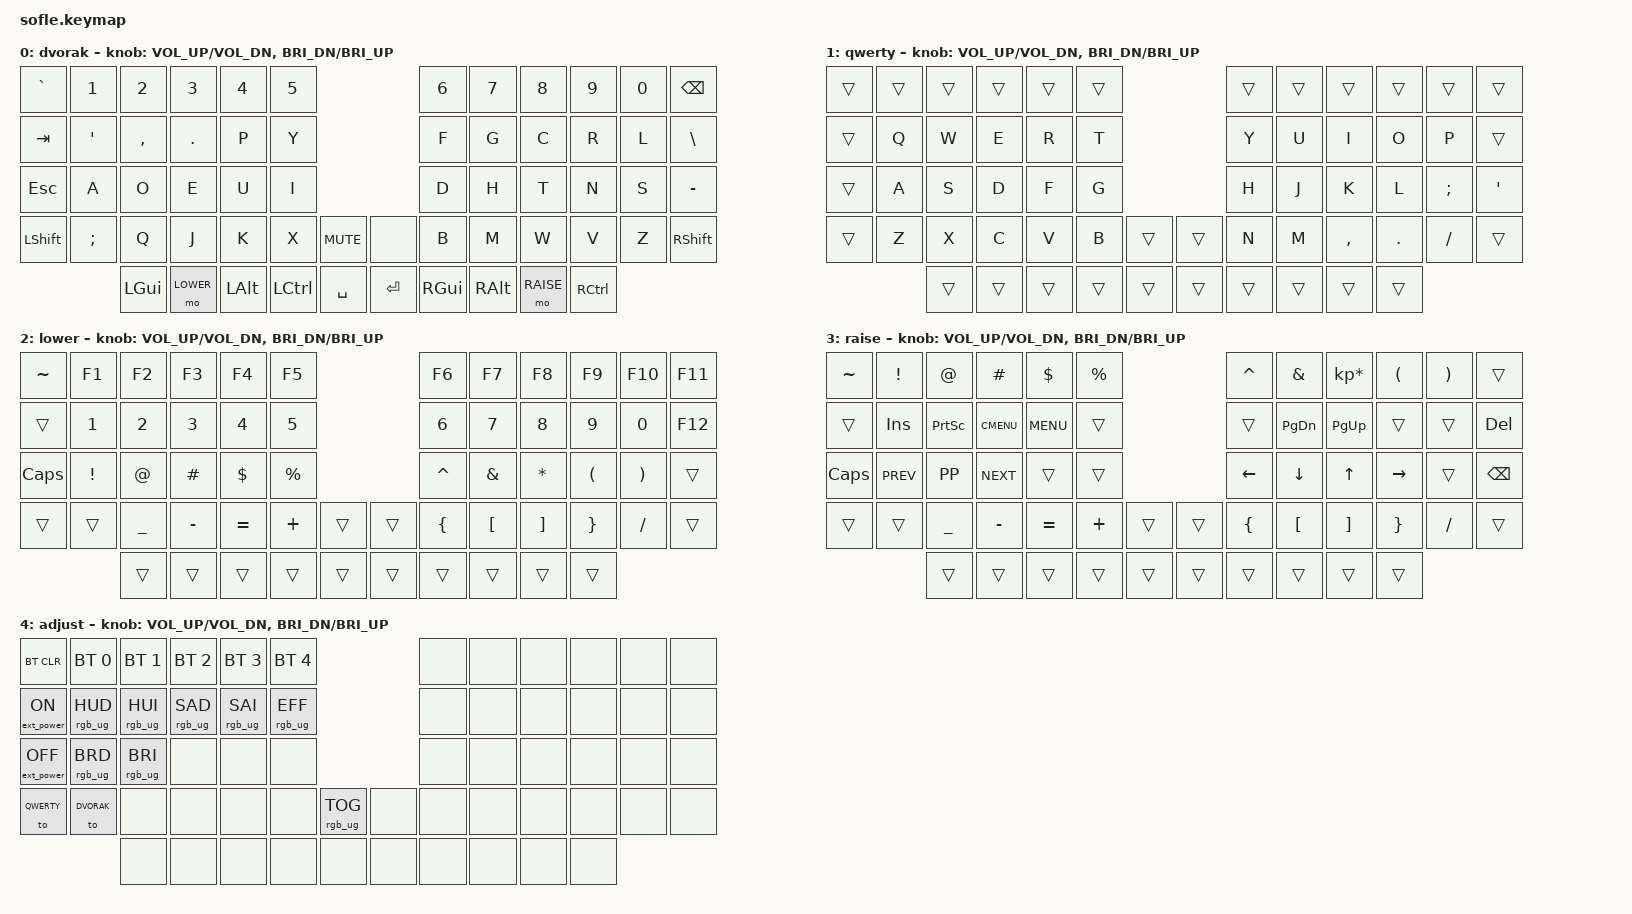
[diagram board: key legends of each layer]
/*
 * Copyright (c) 2020 The ZMK Contributors
 *
 * SPDX-License-Identifier: MIT
 */

#include <behaviors.dtsi>
#include <dt-bindings/zmk/keys.h>
#include <dt-bindings/zmk/bt.h>
#include <dt-bindings/zmk/rgb.h>
#include <dt-bindings/zmk/ext_power.h>

#define DVORAK 0
#define QWERTY 1
#define LOWER  2
#define RAISE  3
#define ADJUST 4

/ {

   // Activate ADJUST layer by pressing raise and lower
    conditional_layers {
        compatible = "zmk,conditional-layers";
        adjust_layer {
            if-layers = <LOWER RAISE>;
            then-layer = <ADJUST>;
        };
    };

    keymap {
        compatible = "zmk,keymap";

        dvorak_layer {
            display-name = "dvorak";
// ------------------------------------------------------------------------------------------------------------
// |   `   |  0  |  2  |  3   |  4   |   5   |                   |   6   |  7    |  8    |  9   |   0   | BKSPC |
// |  TAB  |  '  |  ,  |  .   |  P   |   Y   |                   |   F   |  G    |  C    |  R   |   L   |   \   |
// |  ESC  |  A  |  O  |  E   |  U   |   I   |                   |   D   |  H    |  T    |  N   |   S   |   -   |
// | SHIFT |  ;  |  Q  |  J   |  K   |   X   |  MUTE  |  |       |   B   |  M    |  W    |  V   |   Z   | SHIFT |
//               | GUI | LOWER|  ALT |  CTRL |  SPACE |  | ENTER |  GUI  |  ALT  | RAISE | CTRL |
            bindings = <
&kp GRAVE  &kp N1   &kp N2    &kp N3   &kp N4   &kp N5                           &kp N6   &kp N7    &kp N8    &kp N9   &kp N0   &kp BSPC
&kp TAB    &kp SQT  &kp COMMA &kp DOT  &kp P    &kp Y                            &kp F    &kp G     &kp C     &kp R    &kp L    &kp BSLH
&kp ESC    &kp A    &kp O     &kp E    &kp U    &kp I                            &kp D    &kp H     &kp T     &kp N    &kp S    &kp MINUS
&kp LSHFT  &kp SEMI &kp Q     &kp J    &kp K    &kp X    &kp K_MUTE     &none    &kp B    &kp M     &kp W     &kp V    &kp Z    &kp RSHIFT
                 &kp LGUI  &mo LOWER &kp LALT &kp LCTRL  &kp SPACE      &kp RET  &kp RGUI  &kp RALT  &mo RAISE  &kp RCTRL
            >;

            sensor-bindings = <&inc_dec_kp K_VOL_UP K_VOL_DN &inc_dec_kp C_BRI_DN C_BRI_UP>;
        };

        qwerty_layer {
            display-name = "qwerty";
// ------------------------------------------------------------------------------------------------------------
// |       |     |     |      |      |       |                   |       |       |       |      |       |       |
// |       |  Q  |  W  |  E   |  R   |   T   |                   |   Y   |  U    |  I    |  O   |   P   |       |
// |       |  A  |  S  |  D   |  F   |   G   |                   |   H   |  J    |  K    |  L   |   ;   |   '   |
// |       |  Z  |  X  |  C   |  V   |   B   |        |  |       |   N   |  M    |  ,    |  .   |   /   |       |
//               |     |      |      |       |        |  |       |       |       |       |      |
            bindings = <
&trans  &trans   &trans    &trans   &trans   &trans                           &trans   &trans    &trans    &trans   &trans   &trans
&trans  &kp Q    &kp W     &kp E    &kp R     &kp T                           &kp Y    &kp U     &kp I     &kp O    &kp P    &trans
&trans  &kp A    &kp S     &kp D    &kp F     &kp G                           &kp H    &kp J     &kp K     &kp L    &kp SEMI &kp SQT
&trans  &kp Z    &kp X     &kp C    &kp V     &kp B     &trans &trans         &kp N    &kp M     &kp COMMA &kp DOT  &kp FSLH &trans
                 &trans    &trans   &trans   &trans     &trans &trans         &trans   &trans    &trans    &trans
            >;

            sensor-bindings = <&inc_dec_kp K_VOL_UP K_VOL_DN &inc_dec_kp C_BRI_DN C_BRI_UP>;
        };

        lower_layer {
            display-name = "lower";
// TODO: Some binds are waiting for shifted keycode support.
// ------------------------------------------------------------------------------------------------------------
// |   ~   |  F1 |  F2 |  F3  |  F4  |  F5  |                   |  F6  |  F7   |  F8   |  F9  |  F10  |  F11  |
// |       |  1  |  2  |  3   |  4   |  5   |                   |  6   |  7    |  8    |  9   |   0   |  F12  |
// | CAPS  |  !  |  @  |  #   |  $   |  %   |                   |  ^   |  &    |  *    |  (   |   )   |       |
// |       |     |  _  |  -   |  =   |  +   |        |  |       |  {   |  [    |  ]    |  }   |   /   |       |
//               |     |      |      |      |        |  |       |      |       |       |      |
            bindings = <
&kp TILDE &kp F1    &kp F2    &kp F3      &kp F4    &kp F5                    &kp F6    &kp F7   &kp F8          &kp F9    &kp F10   &kp F11
&trans    &kp N1    &kp N2    &kp N3      &kp N4    &kp N5                    &kp N6    &kp N7   &kp N8          &kp N9    &kp N0    &kp F12
&kp CLCK  &kp EXCL  &kp AT    &kp HASH    &kp DLLR  &kp PRCNT                 &kp CARET &kp AMPS &kp ASTERISK    &kp LPAR  &kp RPAR  &trans
&trans    &trans    &kp UNDER &kp MINUS   &kp EQUAL &kp PLUS   &trans &trans  &kp LBRC  &kp LBKT &kp RBKT        &kp RBRC  &kp FSLH  &trans
                    &trans    &trans      &trans    &trans     &trans &trans  &trans    &trans   &trans          &trans
            >;

            sensor-bindings = <&inc_dec_kp K_VOL_UP K_VOL_DN &inc_dec_kp C_BRI_DN C_BRI_UP>;
        };

        raise_layer {
            display-name = "raise";
// ------------------------------------------------------------------------------------------------------------
// |  ~    |  !   |  @   |  #    |  $    |  %   |                |  ^   |  &   |  *   |  (   |   )   |       |
// |       | INS  | PSCR | GUI   | MENU  |      |                |      | PGDN | PGUP |      |       |  DEL  |
// | CAPS  | Pre  |  PP  | Next  |       |      |                |  <-  |   v  |   ^  |  ->  |       | BKSPC |
// |       |      |  _   |  -    |  =    |  +   |      |  |      |  {   |  [   |  ]   |  }   |   /   |       |
//                |      |       |       |      |      |  |      |      |      |      |      |
            bindings = <
&kp TILDE  &kp EXCL     &kp AT       &kp HASH     &kp DLLR     &kp PRCNT                        &kp CARET   &kp AMPS    &kp KP_MULTIPLY &kp LPAR  &kp RPAR  &trans
&trans     &kp INS      &kp PSCRN    &kp K_CMENU  &kp K_MENU   &trans                           &trans      &kp PG_DN   &kp PG_UP    &trans      &trans     &kp DEL
&kp CLCK   &kp K_PREV   &kp K_PP     &kp K_NEXT   &trans       &trans                           &kp LEFT    &kp DOWN    &kp UP       &kp RIGHT   &trans     &kp BSPC
&trans     &trans       &kp UNDER    &kp MINUS    &kp EQUAL    &kp PLUS      &trans  &trans     &kp LBRC    &kp LBKT    &kp RBKT     &kp RBRC    &kp FSLH   &trans
                        &trans       &trans       &trans       &trans        &trans  &trans     &trans      &trans      &trans       &trans
            >;

            sensor-bindings = <&inc_dec_kp K_VOL_UP K_VOL_DN &inc_dec_kp C_BRI_DN C_BRI_UP>;
        };

        adjust_layer {
// ----------------------------------------------------------------------------------------------------------------------------
// | BTCLR  |  BT0    |  BT1    |   BT2   |   BT3   |   BT4   |                  |      |      |       |      |       |       |
// | EP_ON  | RGB_HUD | RGB_HUI | RGB_SAD | RGB_SAI | RGB_EFF |                  |      |      |       |      |       |       |
// | EP_OFF | RGB_BRD | RGB_BRI |         |         |         |                  |      |      |       |      |       |       |
// | QWERTY | DVORAK  |         |         |         |         | RGB_TOG | |      |      |      |       |      |       |       |
//                    |         |         |         |         |         | |      |      |      |       |      |
            display-name = "adjust";
            bindings = <
&bt BT_CLR        &bt BT_SEL 0    &bt BT_SEL 1    &bt BT_SEL 2    &bt BT_SEL 3    &bt BT_SEL 4                            &none &none &none &none &none &none
&ext_power EP_ON  &rgb_ug RGB_HUD &rgb_ug RGB_HUI &rgb_ug RGB_SAD &rgb_ug RGB_SAI &rgb_ug RGB_EFF                         &none &none &none &none &none &none
&ext_power EP_OFF &rgb_ug RGB_BRD &rgb_ug RGB_BRI &none           &none           &none                                   &none &none &none &none &none &none
&to QWERTY        &to DVORAK      &none           &none           &none           &none            &rgb_ug RGB_TOG &none  &none &none &none &none &none &none
                                  &none           &none           &none           &none            &none           &none  &none &none &none &none
            >;

            sensor-bindings = <&inc_dec_kp K_VOL_UP K_VOL_DN &inc_dec_kp C_BRI_DN C_BRI_UP>;
        };

    };
};

&lt {
    tapping-term-ms = <200>;
};

